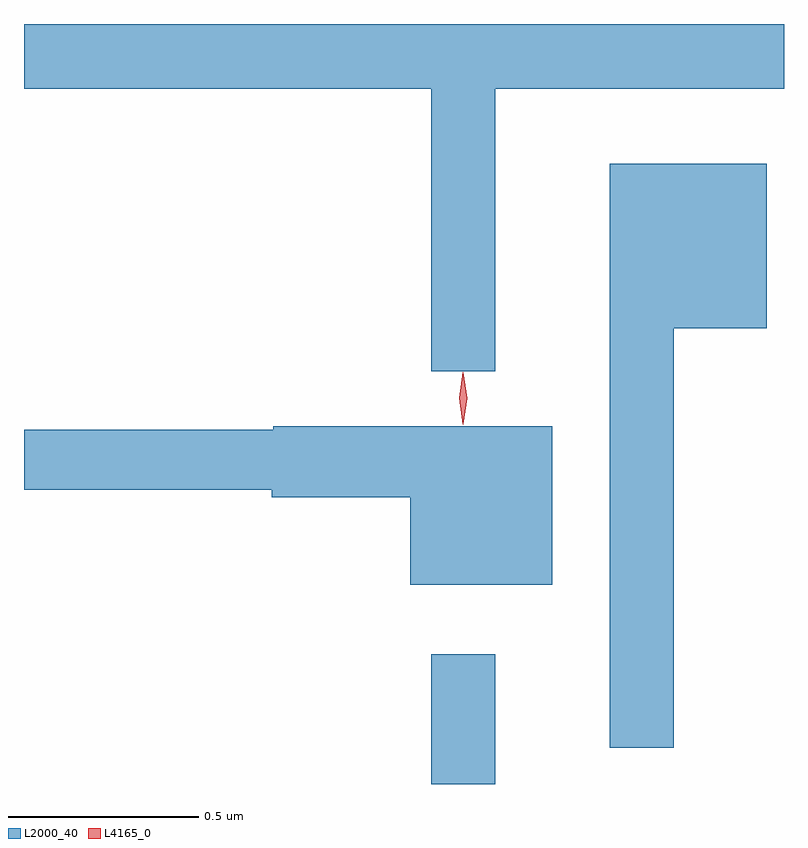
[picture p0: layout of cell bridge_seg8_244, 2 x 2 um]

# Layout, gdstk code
import gdstk
lib = gdstk.Library(unit=1e-6, precision=1e-09)
def R(c, l, rs):  # rectangles x0, y0, x1, y1
    for r in rs: c.add(gdstk.rectangle(r[:2], r[2:], *l))
def P(c, l, *ps):  # polygons
    for p in ps: c.add(gdstk.Polygon(p, *l))
L2000_40 = (2000, 40)
L4165_0 = (4165, 0)

bridge_seg8_244 = lib.new_cell('bridge_seg8_244')
R(bridge_seg8_244, L2000_40, [(1195.851,1867.887,1196.019,1868.228)])
P(bridge_seg8_244, L2000_40, [(1196.019,1869.716),(1196.779,1869.716),(1196.779,1869.887),(1194.779,1869.887),(1194.779,1869.716),(1195.851,1869.716),(1195.851,1868.973),(1196.019,1868.973)],
  [(1196.489,1869.086),(1196.734,1869.086),(1196.734,1869.519),(1196.321,1869.519),(1196.321,1867.983),(1196.489,1867.983)],
  [(1196.169,1868.829),(1195.435,1868.829),(1195.435,1868.819),(1194.779,1868.819),(1194.779,1868.661),(1195.431,1868.661),(1195.431,1868.641),(1195.796,1868.641),(1195.796,1868.411),(1196.169,1868.411)])
P(bridge_seg8_244, L4165_0, [(1195.935,1868.833),(1195.934,1868.834),(1195.925,1868.902),(1195.934,1868.97),(1195.935,1868.97),(1195.935,1868.97),(1195.945,1868.902),(1195.935,1868.834)],
  [(1195.934,1868.838),(1195.934,1868.839),(1195.924,1868.903),(1195.933,1868.966),(1195.933,1868.967),(1195.934,1868.966),(1195.944,1868.903),(1195.934,1868.839)])

lib.write_gds('bridge_seg8_244.gds')
